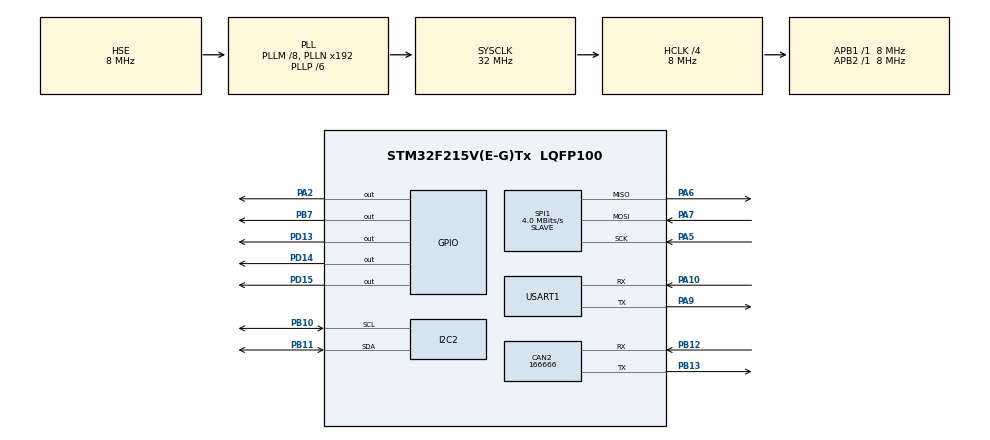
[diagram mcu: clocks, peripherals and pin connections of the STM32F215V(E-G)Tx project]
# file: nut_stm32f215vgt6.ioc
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CAN2.BS1=CAN_BS1_1TQ
CAN2.BS2=CAN_BS2_1TQ
CAN2.CalculateBaudRate=166666
CAN2.CalculateTimeBit=6000
CAN2.CalculateTimeQuantum=2000.0
Mcu.Family=STM32F2
Mcu.Name=STM32F215V(E-G)Tx
Mcu.Package=LQFP100
NVIC.I2C2_ER_IRQn=true\:0\:0\:false\:false\:true\:true\:true\:true
NVIC.I2C2_EV_IRQn=true\:0\:0\:false\:false\:true\:true\:true\:true
NVIC.PriorityGroup=NVIC_PRIORITYGROUP_4
NVIC.SPI1_IRQn=true\:0\:0\:false\:false\:true\:true\:true\:true
NVIC.USART1_IRQn=true\:0\:0\:false\:false\:true\:true\:true\:true
PA10.Mode=Asynchronous
PA10.Signal=USART1_RX
PA13.Mode=Serial_Wire
PA13.Signal=SYS_JTMS-SWDIO
PA14.Mode=Serial_Wire
PA14.Signal=SYS_JTCK-SWCLK
PA2.Signal=GPIO_Output
PA5.Mode=Full_Duplex_Slave
PA5.Signal=SPI1_SCK
PA6.Mode=Full_Duplex_Slave
PA6.Signal=SPI1_MISO
PA7.Mode=Full_Duplex_Slave
PA7.Signal=SPI1_MOSI
PA9.Mode=Asynchronous
PA9.Signal=USART1_TX
PB10.Mode=I2C
PB10.Signal=I2C2_SCL
PB11.Mode=I2C
PB11.Signal=I2C2_SDA
PB12.Mode=CAN_Activate
PB12.Signal=CAN2_RX
PB13.Mode=CAN_Activate
PB13.Signal=CAN2_TX
PB7.Signal=GPIO_Output
PD13.Signal=GPIO_Output
PD14.Signal=GPIO_Output
PD15.Signal=GPIO_Output
PH0-OSC_IN.Mode=HSE-External-Clock-Source
PH0-OSC_IN.Signal=RCC_OSC_IN
PH1-OSC_OUT.Mode=HSE-External-Clock-Source
PH1-OSC_OUT.Signal=RCC_OSC_OUT
ProjectManager.HeapSize=0x200
ProjectManager.StackSize=0x400
ProjectManager.TargetToolchain=STM32CubeIDE
RCC.48MHZClocksFreq_Value=48000000
RCC.AHBCLKDivider=RCC_SYSCLK_DIV4
RCC.AHBFreq_Value=8000000
RCC.APB1Freq_Value=8000000
RCC.APB1TimFreq_Value=8000000
RCC.APB2Freq_Value=8000000
RCC.APB2TimFreq_Value=8000000
RCC.CortexFreq_Value=8000000
RCC.DATA_CACHE_ENABLE=0
RCC.HCLKFreq_Value=8000000
RCC.HSE_VALUE=8000000
RCC.HSI_VALUE=16000000
RCC.INSTRUCTION_CACHE_ENABLE=0
RCC.LSE_VALUE=32768
RCC.PLLM=8
RCC.PLLP=RCC_PLLP_DIV6
RCC.PLLSourceVirtual=RCC_PLLSOURCE_HSE
RCC.PREFETCH_ENABLE=0
RCC.SYSCLKFreq_VALUE=32000000
RCC.SYSCLKSource=RCC_SYSCLKSOURCE_PLLCLK
RCC.VCOOutputFreq_Value=192000000
SPI1.BaudRatePrescaler=SPI_BAUDRATEPRESCALER_2
SPI1.CalculateBaudRate=4.0 MBits/s
SPI1.Direction=SPI_DIRECTION_2LINES
SPI1.Mode=SPI_MODE_SLAVE
SPI1.VirtualType=VM_SLAVE
USART1.VirtualMode=VM_ASYNC
board=custom

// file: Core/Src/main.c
/* USER CODE BEGIN Header */
/**
  ******************************************************************************
  * @file           : main.c
  * @brief          : Main program body
  ******************************************************************************
  * @attention
  *
  * Copyright (c) 2025 STMicroelectronics.
  * All rights reserved.
  *
  * This software is licensed under terms that can be found in the LICENSE file
  * in the root directory of this software component.
  * If no LICENSE file comes with this software, it is provided AS-IS.
  *
  ******************************************************************************
  */
/* USER CODE END Header */
#include "main.h"

/* USER CODE BEGIN Includes */
#include <string.h>
#include "mbedtls/aes.h"
#include "mbedtls/des.h"
#include <stdio.h>
/* USER CODE END Includes */

/* USER CODE BEGIN PTD */
#define BUF_SIZE  64

#define CMD_LEN		(2+2+4)
#define STA_LEN		(2+4)

#define LED_ON HAL_GPIO_WritePin(GPIOB, GPIO_PIN_7, GPIO_PIN_RESET)
#define LED_OFF HAL_GPIO_WritePin(GPIOB, GPIO_PIN_7, GPIO_PIN_SET)

#define USER_IO_SET HAL_GPIO_WritePin(GPIOA, GPIO_PIN_2, GPIO_PIN_SET)
#define USER_IO_CLR HAL_GPIO_WritePin(GPIOA, GPIO_PIN_2, GPIO_PIN_RESET)

#define NUT_IO1_SET HAL_GPIO_WritePin(GPIOD, GPIO_PIN_13, GPIO_PIN_SET)
#define NUT_IO1_CLR HAL_GPIO_WritePin(GPIOD, GPIO_PIN_13, GPIO_PIN_RESET)

#define NUT_IO2_SET HAL_GPIO_WritePin(GPIOD, GPIO_PIN_14, GPIO_PIN_SET)
#define NUT_IO2_CLR HAL_GPIO_WritePin(GPIOD, GPIO_PIN_14, GPIO_PIN_RESET)

#define NUT_IO3_SET HAL_GPIO_WritePin(GPIOD, GPIO_PIN_15, GPIO_PIN_SET)
#define NUT_IO3_CLR HAL_GPIO_WritePin(GPIOD, GPIO_PIN_15, GPIO_PIN_RESET)
/* USER CODE END PTD */

/* USER CODE BEGIN PD */

void process_cmd();
/* USER CODE END PD */

/* USER CODE BEGIN PM */
// todo 优化变量
unsigned char Key[] = { 0x2b, 0x7e, 0x15, 0x16, 0x28, 0xae, 0xd2, 0xa6, 0xab,
		0xf7, 0x15, 0x88, 0x09, 0xcf, 0x4f, 0x3c };

unsigned char Plaintext[] = { 0x6b, 0xc1, 0xbe, 0xe2, 0x2e, 0x40, 0x9f, 0x96,
		0xe9, 0x3d, 0x7e, 0x11, 0x73, 0x93, 0x17, 0x2a };

unsigned char deskey[8] = { 0x00, 0x11, 0x22, 0x33, 0x44, 0x55, 0x66, 0x77 };
unsigned char input[8] = { 0x00, 0x11, 0x22, 0x33, 0x44, 0x55, 0x66, 0x77 };
unsigned char output[8];
unsigned char backward[8];
/* Computed data rx_buffer */
unsigned char Computed_Ciphertext[sizeof(Plaintext)];
unsigned char Computed_Plaintext[sizeof(Plaintext)];
/* USER CODE END PM */

CAN_HandleTypeDef hcan2;

I2C_HandleTypeDef hi2c2;

SPI_HandleTypeDef hspi1;

UART_HandleTypeDef huart1;

/* USER CODE BEGIN PV */
uint8_t flag_uart;
uint8_t flag_spi;
uint8_t flag_i2c;
uint8_t flag_can;
uint8_t flag_cmd_payload; // 0: cmd; 1: payload;

uint32_t payload_len;

uint8_t rx_buffer[BUF_SIZE];
uint8_t tx_buffer[BUF_SIZE];

uint16_t status;

mbedtls_aes_context aes_ctx;
mbedtls_des_context des_ctx;
int key_length = 128; // 密钥长度，AES支持128�??????????????????????????192�??????????????????????????256位密�??????????????????????????
/* USER CODE END PV */

void SystemClock_Config(void);
static void MX_GPIO_Init(void);
static void MX_CAN2_Init(void);
static void MX_I2C2_Init(void);
static void MX_SPI1_Init(void);
static void MX_USART1_UART_Init(void);

/* USER CODE BEGIN 0 */
void HAL_UART_RxCpltCallback(UART_HandleTypeDef *huart) {
	if (huart->Instance == USART1) {
		if (flag_cmd_payload == 0) { // command phase
			payload_len = (rx_buffer[6] << 8) + rx_buffer[7]; // compute payload length
			flag_cmd_payload = 1; // wait for payload
			HAL_UART_Receive_IT(&huart1, rx_buffer + CMD_LEN, payload_len); // receive payload
//			HAL_UART_Receive_IT(&huart1, rx_buffer + CMD_LEN, CMD_LEN); // receive payload
		} else { // payload phase
			flag_uart = 1;
		}
	}
}

void HAL_SPI_TxCpltCallback(SPI_HandleTypeDef *hspi){
	if (hspi->Instance == SPI1) {
		HAL_SPI_Receive_IT(&hspi1, rx_buffer, CMD_LEN);
	}
}

void HAL_SPI_RxCpltCallback(SPI_HandleTypeDef *hspi) {
	if (hspi->Instance == SPI1) {
		if (flag_cmd_payload == 0) { // command phase
			payload_len = (rx_buffer[6] << 8) + rx_buffer[7]; // compute payload length
			flag_cmd_payload = 1; // wait for payload
			HAL_SPI_Receive_IT(&hspi1, rx_buffer + CMD_LEN, payload_len);
//			HAL_SPI_Receive(&hspi1, rx_buffer + CMD_LEN, CMD_LEN, HAL_MAX_DELAY);
//			flag_spi = 1;
//			HAL_SPI_Receive_IT(&hspi1, rx_buffer + CMD_LEN, payload_len); // receive payload
		} else { // payload phase
			flag_spi = 1;

		}
	}
}

void HAL_SPI_ErrorCallback(SPI_HandleTypeDef *hspi){
	if (hspi->Instance == SPI1) {
		;
	}

}

//void HAL_I2C_AddrCallback(I2C_HandleTypeDef *hi2c, uint8_t TransferDirection, uint16_t AddrMatchCode)
//{
//    if (TransferDirection == I2C_DIRECTION_RECEIVE)
//    {
//        // 主设备发送数据到Slave
//        HAL_I2C_Slave_Receive_IT(&hi2c1, rxBuffer, RX_BUFFER_SIZE);
//    }
//    else if (TransferDirection == I2C_DIRECTION_TRANSMIT)
//    {
//        // 主设备从Slave读取数据
//        HAL_I2C_Slave_Transmit_IT(&hi2c1, txBuffer, TX_BUFFER_SIZE);
//    }
//}

void HAL_I2C_SlaveRxCpltCallback(I2C_HandleTypeDef *hi2c)
{
    // 处理接收到的数据
//    for (uint8_t i = 0; i < RX_BUFFER_SIZE; i++)
//    {
//        // 处理接收到的数据
//        // 例如：将数据存储到某个变量或执行某些操作
//    }
}

void HAL_I2C_SlaveTxCpltCallback(I2C_HandleTypeDef *hi2c)
{
    // 处理发�?�完�??????
}
/* USER CODE END 0 */

int main(void)
{

  /* MCU Configuration--------------------------------------------------------*/

  /* Reset of all peripherals, Initializes the Flash interface and the Systick. */
  HAL_Init();

  /* Configure the system clock */
  SystemClock_Config();

  /* Initialize all configured peripherals */
  MX_GPIO_Init();
  MX_CAN2_Init();
  MX_I2C2_Init();
  MX_SPI1_Init();
  MX_USART1_UART_Init();
  /* USER CODE BEGIN 2 */
  flag_uart = 0;
  	flag_spi = 0;
  	flag_i2c = 0;
  	flag_can = 0;
  	flag_cmd_payload = 0;

  	HAL_UART_Receive_IT(&huart1, rx_buffer, CMD_LEN);
  	HAL_SPI_Receive_IT(&hspi1, rx_buffer, CMD_LEN);
  /* USER CODE END 2 */

  /* Infinite loop */
  /* USER CODE BEGIN WHILE */
	mbedtls_aes_init(&aes_ctx);
	mbedtls_des_init(&des_ctx);
  while (1)
  {
    /* USER CODE END WHILE */

    /* USER CODE BEGIN 3 */
	  if (flag_uart || flag_spi || flag_i2c || flag_can) {
	  			SysTick->CTRL &= ~SysTick_CTRL_TICKINT_Msk;

	  			LED_ON;
	  			USER_IO_SET;

	  			process_cmd();

	  			USER_IO_CLR;
	  			LED_OFF;
	  			SysTick->CTRL &= SysTick_CTRL_TICKINT_Msk;

	  			tx_buffer[0] = (status & 0xff00) >> 8;
	  			tx_buffer[1] = status & 0xff;
	  			tx_buffer[2] = 0;
	  			tx_buffer[3] = 0;
	  			tx_buffer[4] = (payload_len & 0xff00) >> 8;
	  			tx_buffer[5] = payload_len & 0xff;

	  			flag_cmd_payload = 0;
	  			if (flag_uart) {
	  				HAL_UART_Transmit(&huart1, tx_buffer, 6 + payload_len, 0xffff);
	  				flag_uart = 0;
	  				HAL_UART_Receive_IT(&huart1, rx_buffer, CMD_LEN);
	  			} else if (flag_spi) {
	  //				HAL_SPI_Transmit(&hspi1, tx_buffer, 6 + payload_len, HAL_MAX_DELAY);
	  				HAL_SPI_Transmit_IT(&hspi1, tx_buffer, 6 + payload_len);
	  				flag_spi = 0;

	  //				HAL_SPI_DeInit(&hspi1);
	  //				HAL_SPI_Init(&hspi1);
	  //
	  //				HAL_SPI_Receive_IT(&hspi1, rx_buffer, CMD_LEN);
	  			}

	  		}  // if (flag_uart || flag_spi || flag_i2c || flag_can)
	  	}  // while(1)
	  	mbedtls_aes_free(&aes_ctx);
	  	mbedtls_des_free(&des_ctx);
  /* USER CODE END 3 */
}

void SystemClock_Config(void)
{
  RCC_OscInitTypeDef RCC_OscInitStruct = {0};
  RCC_ClkInitTypeDef RCC_ClkInitStruct = {0};

  /** Initializes the RCC Oscillators according to the specified parameters
  * in the RCC_OscInitTypeDef structure.
  */
  RCC_OscInitStruct.OscillatorType = RCC_OSCILLATORTYPE_HSE;
  RCC_OscInitStruct.HSEState = RCC_HSE_BYPASS;
  RCC_OscInitStruct.PLL.PLLState = RCC_PLL_ON;
  RCC_OscInitStruct.PLL.PLLSource = RCC_PLLSOURCE_HSE;
  RCC_OscInitStruct.PLL.PLLM = 8;
  RCC_OscInitStruct.PLL.PLLN = 192;
  RCC_OscInitStruct.PLL.PLLP = RCC_PLLP_DIV6;
  RCC_OscInitStruct.PLL.PLLQ = 4;
  if (HAL_RCC_OscConfig(&RCC_OscInitStruct) != HAL_OK)
  {
    Error_Handler();
  }

  /** Initializes the CPU, AHB and APB buses clocks
  */
  RCC_ClkInitStruct.ClockType = RCC_CLOCKTYPE_HCLK|RCC_CLOCKTYPE_SYSCLK
                              |RCC_CLOCKTYPE_PCLK1|RCC_CLOCKTYPE_PCLK2;
  RCC_ClkInitStruct.SYSCLKSource = RCC_SYSCLKSOURCE_PLLCLK;
  RCC_ClkInitStruct.AHBCLKDivider = RCC_SYSCLK_DIV4;
  RCC_ClkInitStruct.APB1CLKDivider = RCC_HCLK_DIV1;
  RCC_ClkInitStruct.APB2CLKDivider = RCC_HCLK_DIV1;

  if (HAL_RCC_ClockConfig(&RCC_ClkInitStruct, FLASH_LATENCY_0) != HAL_OK)
  {
    Error_Handler();
  }
}

static void MX_CAN2_Init(void)
{

  hcan2.Instance = CAN2;
  hcan2.Init.Prescaler = 16;
  hcan2.Init.Mode = CAN_MODE_NORMAL;
  hcan2.Init.SyncJumpWidth = CAN_SJW_1TQ;
  hcan2.Init.TimeSeg1 = CAN_BS1_1TQ;
  hcan2.Init.TimeSeg2 = CAN_BS2_1TQ;
  hcan2.Init.TimeTriggeredMode = DISABLE;
  hcan2.Init.AutoBusOff = DISABLE;
  hcan2.Init.AutoWakeUp = DISABLE;
  hcan2.Init.AutoRetransmission = DISABLE;
  hcan2.Init.ReceiveFifoLocked = DISABLE;
  hcan2.Init.TransmitFifoPriority = DISABLE;
  if (HAL_CAN_Init(&hcan2) != HAL_OK)
  {
    Error_Handler();
  }

}

static void MX_I2C2_Init(void)
{

  hi2c2.Instance = I2C2;
  hi2c2.Init.ClockSpeed = 100000;
  hi2c2.Init.DutyCycle = I2C_DUTYCYCLE_2;
  hi2c2.Init.OwnAddress1 = 0;
  hi2c2.Init.AddressingMode = I2C_ADDRESSINGMODE_7BIT;
  hi2c2.Init.DualAddressMode = I2C_DUALADDRESS_DISABLE;
  hi2c2.Init.OwnAddress2 = 0;
  hi2c2.Init.GeneralCallMode = I2C_GENERALCALL_DISABLE;
  hi2c2.Init.NoStretchMode = I2C_NOSTRETCH_DISABLE;
  if (HAL_I2C_Init(&hi2c2) != HAL_OK)
  {
    Error_Handler();
  }

}

static void MX_SPI1_Init(void)
{

  /* SPI1 parameter configuration*/
  hspi1.Instance = SPI1;
  hspi1.Init.Mode = SPI_MODE_SLAVE;
  hspi1.Init.Direction = SPI_DIRECTION_2LINES;
  hspi1.Init.DataSize = SPI_DATASIZE_8BIT;
  hspi1.Init.CLKPolarity = SPI_POLARITY_LOW;
  hspi1.Init.CLKPhase = SPI_PHASE_1EDGE;
  hspi1.Init.NSS = SPI_NSS_SOFT;
  hspi1.Init.BaudRatePrescaler = SPI_BAUDRATEPRESCALER_2;
  hspi1.Init.FirstBit = SPI_FIRSTBIT_MSB;
  hspi1.Init.TIMode = SPI_TIMODE_DISABLE;
  hspi1.Init.CRCCalculation = SPI_CRCCALCULATION_DISABLE;
  hspi1.Init.CRCPolynomial = 10;
  if (HAL_SPI_Init(&hspi1) != HAL_OK)
  {
    Error_Handler();
  }

}

static void MX_USART1_UART_Init(void)
{

  huart1.Instance = USART1;
  huart1.Init.BaudRate = 115200;
  huart1.Init.WordLength = UART_WORDLENGTH_8B;
  huart1.Init.StopBits = UART_STOPBITS_1;
  huart1.Init.Parity = UART_PARITY_NONE;
  huart1.Init.Mode = UART_MODE_TX_RX;
  huart1.Init.HwFlowCtl = UART_HWCONTROL_NONE;
  huart1.Init.OverSampling = UART_OVERSAMPLING_16;
  if (HAL_UART_Init(&huart1) != HAL_OK)
  {
    Error_Handler();
  }

}

static void MX_GPIO_Init(void)
{
  GPIO_InitTypeDef GPIO_InitStruct = {0};

  /* GPIO Ports Clock Enable */
  __HAL_RCC_GPIOH_CLK_ENABLE();
  __HAL_RCC_GPIOA_CLK_ENABLE();
  __HAL_RCC_GPIOB_CLK_ENABLE();
  __HAL_RCC_GPIOD_CLK_ENABLE();

  /*Configure GPIO pin Output Level */
  HAL_GPIO_WritePin(GPIOA, GPIO_PIN_2, GPIO_PIN_RESET);

  /*Configure GPIO pin Output Level */
  HAL_GPIO_WritePin(GPIOD, GPIO_PIN_13|GPIO_PIN_14|GPIO_PIN_15, GPIO_PIN_RESET);

  /*Configure GPIO pin Output Level */
  HAL_GPIO_WritePin(GPIOB, GPIO_PIN_7, GPIO_PIN_RESET);

  /*Configure GPIO pin : PA2 */
  GPIO_InitStruct.Pin = GPIO_PIN_2;
  GPIO_InitStruct.Mode = GPIO_MODE_OUTPUT_PP;
  GPIO_InitStruct.Pull = GPIO_NOPULL;
  GPIO_InitStruct.Speed = GPIO_SPEED_FREQ_LOW;
  HAL_GPIO_Init(GPIOA, &GPIO_InitStruct);

  /*Configure GPIO pins : PD13 PD14 PD15 */
  GPIO_InitStruct.Pin = GPIO_PIN_13|GPIO_PIN_14|GPIO_PIN_15;
  GPIO_InitStruct.Mode = GPIO_MODE_OUTPUT_PP;
  GPIO_InitStruct.Pull = GPIO_NOPULL;
  GPIO_InitStruct.Speed = GPIO_SPEED_FREQ_LOW;
  HAL_GPIO_Init(GPIOD, &GPIO_InitStruct);

  /*Configure GPIO pin : PB7 */
  GPIO_InitStruct.Pin = GPIO_PIN_7;
  GPIO_InitStruct.Mode = GPIO_MODE_OUTPUT_PP;
  GPIO_InitStruct.Pull = GPIO_NOPULL;
  GPIO_InitStruct.Speed = GPIO_SPEED_FREQ_LOW;
  HAL_GPIO_Init(GPIOB, &GPIO_InitStruct);

}

/* USER CODE BEGIN 4 */
void process_cmd() {
	if (rx_buffer[0] == 0x01 && rx_buffer[1] == 0x00) { // Set AES encrypt Key
		mbedtls_aes_setkey_enc(&aes_ctx, rx_buffer + CMD_LEN, key_length);
		status = 0;
		payload_len = 0;
	} else if (rx_buffer[0] == 0x01 && rx_buffer[1] == 0x01) { // Set AES decrypt Key
		mbedtls_aes_setkey_dec(&aes_ctx, rx_buffer + CMD_LEN, key_length);
		status = 0;
		payload_len = 0;
	} else if (rx_buffer[0] == 0x01 && rx_buffer[1] == 0x02) { // AES Encryption
		NUT_IO1_SET;
		mbedtls_aes_crypt_ecb(&aes_ctx, MBEDTLS_AES_ENCRYPT,
				rx_buffer + CMD_LEN, tx_buffer + STA_LEN);
		NUT_IO1_CLR;
		status = 0;
		payload_len = 16;
	} else if (rx_buffer[0] == 0x01 && rx_buffer[1] == 0x03) { // AES Decryption
		NUT_IO1_SET;
		mbedtls_aes_crypt_ecb(&aes_ctx, MBEDTLS_AES_DECRYPT,
				rx_buffer + CMD_LEN, tx_buffer + STA_LEN);
		NUT_IO1_CLR;
		status = 0;
		payload_len = 16;
	} else if (rx_buffer[0] == 0x02 && rx_buffer[1] == 0x00) { // Set DES encryption key
		mbedtls_des_setkey_enc(&des_ctx, rx_buffer + CMD_LEN);
		status = 0;
		payload_len = 0;
	} else if (rx_buffer[0] == 0x02 && rx_buffer[1] == 0x01) { // Set DES decryption key
		mbedtls_des_setkey_dec(&des_ctx, rx_buffer + CMD_LEN);
		status = 0;
		payload_len = 0;
	} else if (rx_buffer[0] == 0x02 && rx_buffer[1] == 0x02) { // DES Encryption
		NUT_IO1_SET;
		mbedtls_des_crypt_ecb(&des_ctx, rx_buffer + CMD_LEN,
				tx_buffer + STA_LEN);
		NUT_IO1_CLR;
		status = 0;
		payload_len = 8;
	} else if (rx_buffer[0] == 0x02 && rx_buffer[1] == 0x03) {
		NUT_IO1_SET;
		mbedtls_des_crypt_ecb(&des_ctx, rx_buffer + CMD_LEN,
				tx_buffer + STA_LEN);
		NUT_IO1_CLR;
		status = 0;
		payload_len = 8;
	} else {
		status = 0x8000;
		payload_len = 0;
	}
	return;
}
/* USER CODE END 4 */

void Error_Handler(void)
{
  __disable_irq();
  while (1)
  {
  }
}
